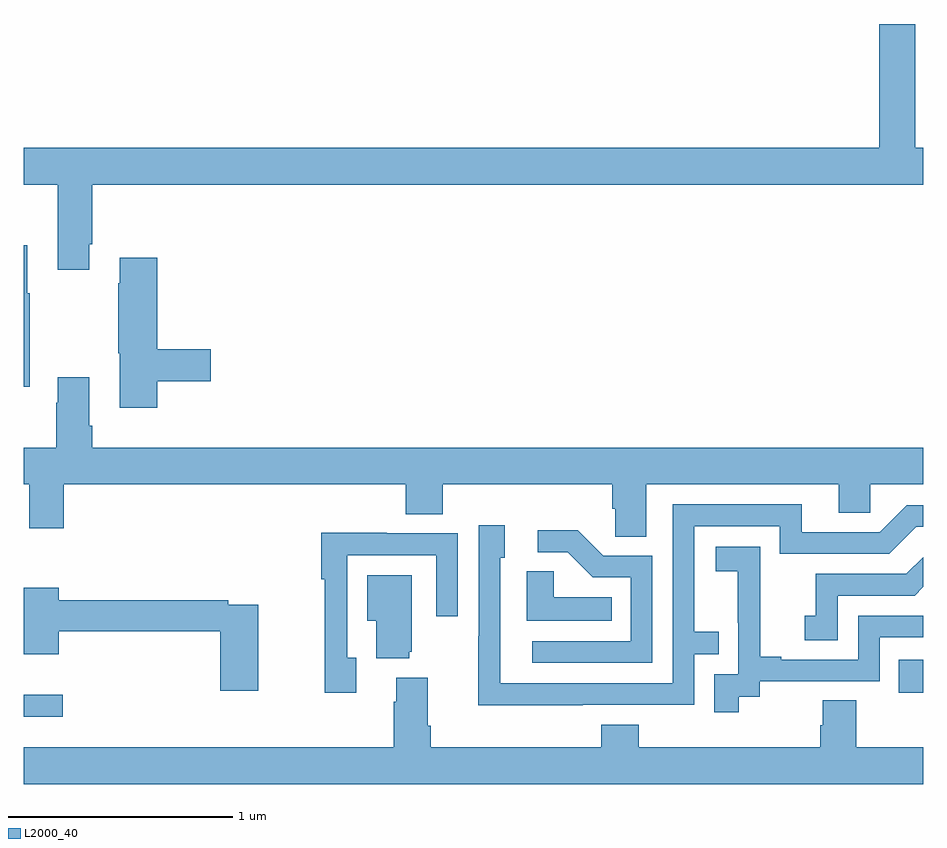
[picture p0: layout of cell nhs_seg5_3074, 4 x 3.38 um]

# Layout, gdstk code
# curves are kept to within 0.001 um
import gdstk
lib = gdstk.Library(unit=1e-6, precision=1e-09)
def R(c, l, rs):  # rectangles x0, y0, x1, y1
    for r in rs: c.add(gdstk.rectangle(r[:2], r[2:], *l))
def P(c, l, *ps):  # polygons
    for p in ps: c.add(gdstk.Polygon(p, *l))
L2000_40 = (2000, 40)

nhs_seg5_3074 = lib.new_cell('nhs_seg5_3074')
R(nhs_seg5_3074, L2000_40, [(289,863.72,289.174,863.817), (292.891,863.826,293,863.973)])
P(nhs_seg5_3074, L2000_40, [(289.291,865.819),(289.304,865.819),(289.304,866.084),(293,866.084),(293,866.248),(292.965,866.248),(292.965,866.799),(292.805,866.799),(292.805,866.248),(289,866.248),(289,866.084),(289.151,866.084),(289.151,865.707),(289.291,865.707)],
  [(289.027,865.603),(289.015,865.603),(289.015,865.816),(289,865.816),(289,865.187),(289.027,865.187)],
  [(289.595,865.21),(289.831,865.21),(289.831,865.352),(289.595,865.352),(289.595,865.759),(289.427,865.759),(289.427,865.646),(289.42,865.646),(289.42,865.335),(289.427,865.335),(289.427,865.092),(289.595,865.092)],
  [(291.769,864.752),(292.625,864.752),(292.625,864.625),(292.764,864.625),(292.764,864.752),(293,864.752),(293,864.916),(289.304,864.916),(289.304,865.012),(289.291,865.012),(289.291,865.228),(289.151,865.228),(289.151,865.115),(289.144,865.115),(289.144,864.916),(289,864.916),(289,864.752),(289.025,864.752),(289.025,864.558),(289.178,864.558),(289.178,864.752),(290.699,864.752),(290.699,864.619),(290.864,864.619),(290.864,864.752),(291.617,864.752),(291.617,864.643),(291.63,864.643),(291.63,864.52),(291.769,864.52)],
  [(291.485,863.772),(291.981,863.772),(291.981,863.997),(292.091,863.997),(292.091,864.098),(291.981,864.098),(291.981,864.567),(292.362,864.567),(292.362,864.444),(292.848,864.444),(292.968,864.564),(293,864.564),(293,864.66),(292.926,864.66),(292.806,864.54),(292.459,864.54),(292.459,864.663),(291.885,864.663),(291.885,863.868),(291.12,863.868),(291.12,864.426),(291.139,864.426),(291.139,864.571),(291.024,864.571),(291.024,864.077),(291.022,864.077),(291.022,863.771)],
  [(291.795,864.435),(291.576,864.435),(291.463,864.548),(291.285,864.548),(291.285,864.45),(291.419,864.45),(291.53,864.339),(291.699,864.339),(291.699,864.054),(291.261,864.054),(291.261,863.958),(291.795,863.958)],
  [(290.479,863.982),(290.439,863.982),(290.439,864.438),(290.835,864.438),(290.835,864.165),(290.931,864.165),(290.931,864.534),(290.615,864.534),(290.615,864.536),(290.323,864.536),(290.323,864.331),(290.338,864.331),(290.338,863.826),(290.479,863.826)],
  [(292.18,863.809),(292.272,863.809),(292.272,863.877),(292.806,863.877),(292.806,864.072),(293,864.072),(293,864.168),(292.71,864.168),(292.71,863.973),(292.369,863.973),(292.369,863.986),(292.274,863.986),(292.274,864.269),(292.275,864.269),(292.275,864.475),(292.077,864.475),(292.077,864.365),(292.175,864.365),(292.175,864.137),(292.176,864.137),(292.176,863.907),(292.071,863.907),(292.071,863.739),(292.18,863.739)],
  [(292.62,864.258),(292.962,864.258),(293,864.296),(293,864.429),(292.925,864.354),(292.522,864.354),(292.522,864.169),(292.473,864.169),(292.473,864.06),(292.62,864.06)],
  [(291.614,864.25),(291.357,864.25),(291.357,864.365),(291.236,864.365),(291.236,864.146),(291.614,864.146)],
  [(290.714,864.009),(290.725,864.009),(290.725,864.349),(290.528,864.349),(290.528,864.146),(290.567,864.146),(290.567,863.978),(290.714,863.978)],
  [(290.044,864.216),(289.91,864.216),(289.91,864.236),(289.156,864.236),(289.156,864.292),(289,864.292),(289,863.996),(289.156,863.996),(289.156,864.1),(289.874,864.1),(289.874,863.835),(290.044,863.835)],
  [(293,863.584),(292.701,863.584),(292.701,863.792),(292.553,863.792),(292.553,863.682),(292.541,863.682),(292.541,863.584),(291.734,863.584),(291.734,863.683),(291.569,863.683),(291.569,863.584),(290.81,863.584),(290.81,863.68),(290.797,863.68),(290.797,863.893),(290.657,863.893),(290.657,863.786),(290.645,863.786),(290.645,863.584),(289,863.584),(289,863.42),(293,863.42)])

lib.write_gds('nhs_seg5_3074.gds')
